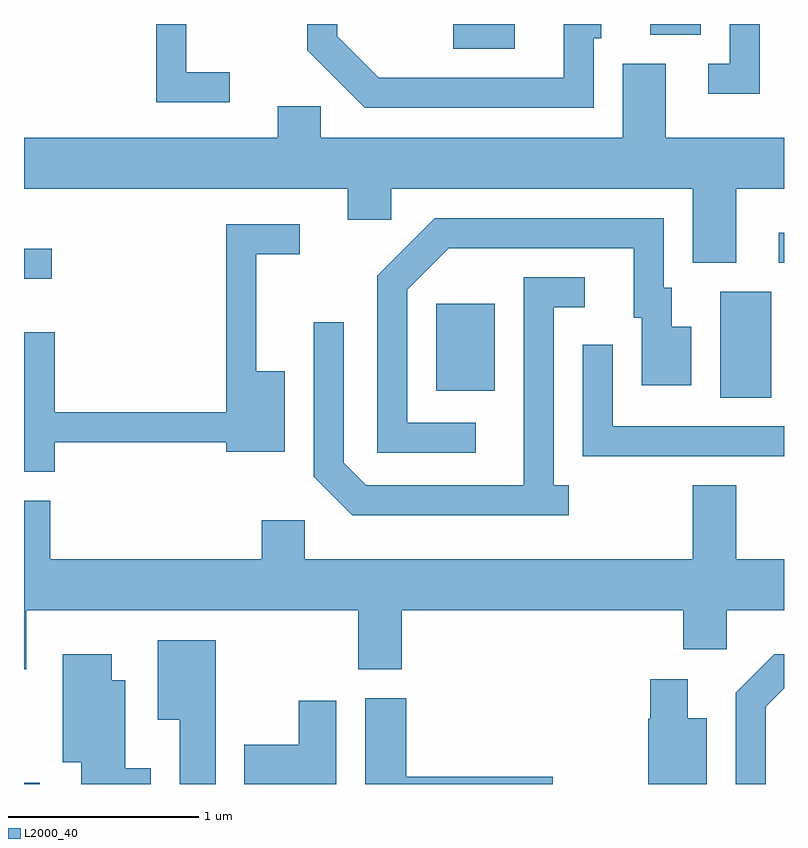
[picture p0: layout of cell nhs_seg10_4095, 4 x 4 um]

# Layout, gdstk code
import gdstk
lib = gdstk.Library(unit=1e-6, precision=1e-09)
def R(c, l, rs):  # rectangles x0, y0, x1, y1
    for r in rs: c.add(gdstk.rectangle(r[:2], r[2:], *l))
def P(c, l, *ps):  # polygons
    for p in ps: c.add(gdstk.Polygon(p, *l))
L2000_40 = (2000, 40)

nhs_seg10_4095 = lib.new_cell('nhs_seg10_4095')
R(nhs_seg10_4095, L2000_40, [(305.611,2148.522,305.694,2148.529), (309.276,2150.556,309.544,2151.114), (307.781,2150.591,308.089,2151.049), (305.611,2151.181,305.758,2151.339), (309.583,2151.266,309.611,2151.424), (307.871,2152.391,308.193,2152.522), (308.906,2152.466,309.174,2152.522)])
P(nhs_seg10_4095, L2000_40, [(306.693,2152.269),(306.464,2152.269),(306.464,2152.522),(306.306,2152.522),(306.306,2152.111),(306.693,2152.111)],
  [(308.609,2152.446),(308.649,2152.446),(308.649,2152.522),(308.451,2152.522),(308.451,2152.239),(307.477,2152.239),(307.259,2152.457),(307.259,2152.522),(307.101,2152.522),(307.101,2152.384),(307.404,2152.081),(308.609,2152.081)],
  [(309.484,2152.522),(309.326,2152.522),(309.326,2152.314),(309.213,2152.314),(309.213,2152.156),(309.484,2152.156)],
  [(308.989,2152.314),(308.761,2152.314),(308.761,2151.924),(307.174,2151.924),(307.174,2152.089),(306.946,2152.089),(306.946,2151.924),(305.611,2151.924),(305.611,2151.656),(307.316,2151.656),(307.316,2151.491),(307.544,2151.491),(307.544,2151.656),(309.131,2151.656),(309.131,2151.266),(309.359,2151.266),(309.359,2151.656),(309.611,2151.656),(309.611,2151.924),(308.989,2151.924)],
  [(307.988,2150.424),(307.629,2150.424),(307.629,2151.124),(307.847,2151.341),(308.821,2151.341),(308.821,2150.976),(308.861,2150.976),(308.861,2150.621),(309.124,2150.621),(309.124,2150.929),(309.019,2150.929),(309.019,2151.134),(308.979,2151.134),(308.979,2151.499),(307.774,2151.499),(307.471,2151.197),(307.471,2150.266),(307.988,2150.266)],
  [(305.774,2150.321),(306.676,2150.321),(306.676,2150.271),(306.984,2150.271),(306.984,2150.694),(306.834,2150.694),(306.834,2151.311),(307.063,2151.311),(307.063,2151.469),(306.676,2151.469),(306.676,2150.479),(305.774,2150.479),(305.774,2150.899),(305.611,2150.899),(305.611,2150.166),(305.774,2150.166)],
  [(308.478,2150.094),(308.399,2150.094),(308.399,2151.031),(308.563,2151.031),(308.563,2151.189),(308.241,2151.189),(308.241,2150.094),(307.412,2150.094),(307.294,2150.212),(307.294,2150.953),(307.136,2150.953),(307.136,2150.139),(307.339,2149.936),(308.478,2149.936)],
  [(309.611,2150.404),(308.709,2150.404),(308.709,2150.833),(308.551,2150.833),(308.551,2150.246),(309.611,2150.246)],
  [(305.624,2149.436),(307.371,2149.436),(307.371,2149.126),(307.599,2149.126),(307.599,2149.436),(309.081,2149.436),(309.081,2149.231),(309.309,2149.231),(309.309,2149.436),(309.611,2149.436),(309.611,2149.704),(309.359,2149.704),(309.359,2150.094),(309.131,2150.094),(309.131,2149.704),(307.089,2149.704),(307.089,2149.909),(306.861,2149.909),(306.861,2149.704),(305.749,2149.704),(305.749,2150.014),(305.611,2150.014),(305.611,2149.126),(305.624,2149.126)],
  [(306.619,2149.279),(306.316,2149.279),(306.316,2148.861),(306.431,2148.861),(306.431,2148.522),(306.619,2148.522)],
  [(306.279,2148.604),(306.144,2148.604),(306.144,2149.069),(306.074,2149.069),(306.074,2149.204),(305.816,2149.204),(305.816,2148.636),(305.911,2148.636),(305.911,2148.522),(306.279,2148.522)],
  [(309.514,2148.929),(309.611,2149.025),(309.611,2149.204),(309.559,2149.204),(309.356,2149.002),(309.356,2148.522),(309.514,2148.522)],
  [(309.204,2148.869),(309.104,2148.869),(309.104,2149.074),(308.906,2149.074),(308.906,2148.865),(308.896,2148.865),(308.896,2148.522),(309.204,2148.522)],
  [(308.394,2148.559),(307.624,2148.559),(307.624,2148.974),(307.406,2148.974),(307.406,2148.522),(308.394,2148.522)],
  [(307.254,2148.959),(307.056,2148.959),(307.056,2148.729),(306.771,2148.729),(306.771,2148.522),(307.254,2148.522)])

lib.write_gds('nhs_seg10_4095.gds')
